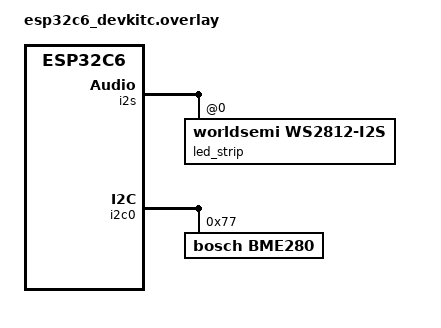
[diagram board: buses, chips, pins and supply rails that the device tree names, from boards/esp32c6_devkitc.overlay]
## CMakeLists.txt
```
cmake_minimum_required(VERSION 3.20.0)

if(EXISTS "${CMAKE_CURRENT_SOURCE_DIR}/local.conf")
    set(EXTRA_CONF_FILE "${CMAKE_CURRENT_SOURCE_DIR}/local.conf" CACHE INTERNAL "Local configuration overlay")
endif()

find_package(Zephyr REQUIRED HINTS $ENV{ZEPHYR_BASE})
project(device_firmware)

message(STATUS "DEBUG: EXTRA_CONF_FILE='${EXTRA_CONF_FILE}'")

zephyr_include_directories(include)

# Common sources
target_sources(app PRIVATE src/main.cpp src/runner.cpp src/filter.cpp)

# Network Configuration
if(CONFIG_WIFI)
    message(STATUS "Configuring for Wi-Fi Connection")
    target_sources(app PRIVATE src/network_connection_wifi.cpp)
else()
    message(STATUS "No Wi-Fi Configured. Configuring Mock Network Connection")
    target_sources(app PRIVATE src/network_connection_noop.cpp)
endif()

# Telemetry Configuration
if(CONFIG_APP_TELEMETRY_MQTT)
    message(STATUS "Configuring for MQTT Telemetry")
    target_sources(app PRIVATE src/mqtt_publisher.cpp src/mqtt_connection.cpp)
endif()

# Build-time hardware selection
dt_alias(has_strip PROPERTY "led-strip")
dt_alias(has_led   PROPERTY "led0")
dt_nodelabel(has_bme280 NODELABEL "bme280")

message(STATUS "DEBUG: has_strip='${has_strip}'")
message(STATUS "DEBUG: has_led='${has_led}'")
message(STATUS "DEBUG: has_bme280='${has_bme280}'")

# Board options
if(has_strip)
    message(STATUS "Configuring for LED Strip")
    target_sources(app PRIVATE src/status_light_strip.cpp)
elseif(has_led)
    message(STATUS "Configuring for GPIO LED")
    target_sources(app PRIVATE src/status_light_gpio.cpp)
else()
    message(STATUS "No LED hardware found. Configuring Mock Status Light")
    target_sources(app PRIVATE src/status_light_noop.cpp)
endif()

if(has_bme280)
    message(STATUS "Configuring for BME280 Sensor")
    target_sources(app PRIVATE src/environment_sensor_bme280.cpp)
else()
    message(STATUS "No sensor hardware found. Configuring Mock Sensor")
    target_sources(app PRIVATE src/environment_sensor_noop.cpp)
endif()

# Workaround for Zephyr C++ compilation issue in net/ethernet.h (Issue #106984)
target_compile_options(app PRIVATE $<$<COMPILE_LANGUAGE:CXX>:-fpermissive>)
```

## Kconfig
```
mainmenu "Environment Metrics Firmware"

config APP_WIFI_SSID
    string "WiFi SSID"
    default "Your_SSID"

config APP_WIFI_PASSWORD
    string "WiFi Password"
    default "Your_Password"

config APP_TELEMETRY_MQTT
    bool "Enable MQTT Telemetry Publisher"
    default y

config APP_MQTT_BROKER_HOST
    string "MQTT Broker Hostname/IP"
    default "127.0.0.1"

config APP_MQTT_BROKER_PORT
    int "MQTT Broker Port"
    default 1883

config APP_MQTT_TOPIC
    string "MQTT Publish Topic"
    default "sensors/environment"

config APP_MQTT_TLS_VERIFY_REQUIRED
    bool "MQTT TLS Verification Required"
    default n
    help
      Enable server certificate verification. Defaults to 'n' for local dev
      due to Pico W real-time clock validation constraints.

config APP_MQTT_USERNAME
    string "MQTT Username"
    default "device_user"

config APP_MQTT_PASSWORD
    string "MQTT Password"
    default "device_pass"

source "Kconfig.zephyr"
```

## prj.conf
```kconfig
CONFIG_GPIO=y
CONFIG_LOG=y

# Enable I2C and Sensor subsystems
CONFIG_I2C=y
CONFIG_SENSOR=y

# C++ Support
CONFIG_CPP=y
CONFIG_STD_CPP20=y
CONFIG_REQUIRES_FULL_LIBCPP=y

# Floating point printing support
CONFIG_CBPRINTF_FP_SUPPORT=y

# Enable WiFi
CONFIG_WIFI=y
CONFIG_NET_L2_ETHERNET=y
CONFIG_NET_L2_WIFI_MGMT=y
CONFIG_NET_DHCPV4=y

# Networking
CONFIG_NETWORKING=y
CONFIG_NET_IPV4=y
CONFIG_NET_TCP=y
CONFIG_NET_UDP=y

# Logging
CONFIG_NET_LOG=y
CONFIG_WIFI_LOG_LEVEL_INF=y
CONFIG_NET_L2_WIFI_MGMT_LOG_LEVEL_INF=y

# Networking Sockets
CONFIG_NET_SOCKETS=y
CONFIG_POSIX_API=y
CONFIG_TEST_RANDOM_GENERATOR=y
CONFIG_DNS_RESOLVER=y
CONFIG_DNS_RESOLVER_ADDITIONAL_QUERIES=2

# WiFi Configuration placeholders
CONFIG_APP_WIFI_SSID="your-ssid-here"
CONFIG_APP_WIFI_PASSWORD="your-password-here"

# Application stack and heap allocations
CONFIG_MAIN_STACK_SIZE=8192
CONFIG_HEAP_MEM_POOL_SIZE=196608

# Enable MQTT and JSON parsing support
CONFIG_MQTT_LIB=y
CONFIG_JSON_LIBRARY=y
CONFIG_JSON_LIBRARY_FP_SUPPORT=y

# TLS Configuration
CONFIG_MQTT_LIB_TLS=y
CONFIG_NET_SOCKETS_SOCKOPT_TLS=y
CONFIG_TLS_CREDENTIALS=y
CONFIG_MBEDTLS=y
CONFIG_MBEDTLS_BUILTIN=y
CONFIG_MBEDTLS_CIPHERSUITE_TLS_ECDHE_RSA_WITH_AES_128_GCM_SHA256=y
CONFIG_MBEDTLS_PEM_PARSE_C=y
CONFIG_MBEDTLS_SSL_MAX_CONTENT_LEN=16384
CONFIG_MBEDTLS_SSL_SERVER_NAME_INDICATION=y
CONFIG_NET_SOCKETS_TLS_MAX_CONTEXTS=2

# Enable RSA public key parsing in PSA
CONFIG_PSA_WANT_KEY_TYPE_RSA_PUBLIC_KEY=y

# Enable SHA-384 and SHA-512 in PSA (often required for certificate verification)
CONFIG_PSA_WANT_ALG_SHA_384=y
CONFIG_PSA_WANT_ALG_SHA_512=y

# Enable verbose MbedTLS debug logs
#CONFIG_MBEDTLS_DEBUG=y
#CONFIG_MBEDTLS_LOG_LEVEL_DBG=y


# Allocate dedicated memory for MbedTLS
CONFIG_MBEDTLS_ENABLE_HEAP=y
CONFIG_MBEDTLS_HEAP_SIZE=98304

# MQTT TLS Credentials Default Placeholders
CONFIG_APP_MQTT_USERNAME="device_user"
CONFIG_APP_MQTT_PASSWORD="device_pass"
CONFIG_APP_MQTT_BROKER_HOST="127.0.0.1"
CONFIG_APP_MQTT_BROKER_PORT=1883
```

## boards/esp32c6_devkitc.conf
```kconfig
CONFIG_LED_STRIP=y
CONFIG_WS2812_STRIP_I2S=y
CONFIG_I2S=y
CONFIG_DMA=y
CONFIG_WIFI_ESP32=y
```

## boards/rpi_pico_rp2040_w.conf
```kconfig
CONFIG_CYW43439=y

# Adjust heap allocations to fit the RP2040's 264KB RAM limits
CONFIG_HEAP_MEM_POOL_SIZE=49152
CONFIG_MBEDTLS_HEAP_SIZE=57344
```

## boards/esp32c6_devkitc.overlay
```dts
#include <zephyr/dt-bindings/led/led.h>

/ {
	aliases {
		led-strip = &led_strip;
	};
};

&i2s_default {
	group1 {
		pinmux = <I2S_O_SD_GPIO8>;
	};
};

i2s_led: &i2s {
	status = "okay";

	dmas = <&dma 3>;
	dma-names = "tx";

	led_strip: ws2812@0 {
		compatible = "worldsemi,ws2812-i2s";

		reg = <0>;
		chain-length = <1>;
		color-mapping = <LED_COLOR_ID_RED
				 LED_COLOR_ID_GREEN
				 LED_COLOR_ID_BLUE>;
		reset-delay = <500>;
	};
};

&dma {
	status = "okay";
};

&i2c0 {
	status = "okay";
	bme280: bme280@77 {
		compatible = "bosch,bme280";
		reg = <0x77>;
	};
};
```

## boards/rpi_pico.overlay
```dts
/ {
	aliases {
		led0 = &led0;
	};
};
```

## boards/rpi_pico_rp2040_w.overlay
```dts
&i2c0 {
    status = "disabled";
};

&pinctrl {
    i2c1_default: i2c1_default {
        group1 {
            pinmux = <I2C1_SDA_P26>, <I2C1_SCL_P27>;
            input-enable;
            input-schmitt-enable;
        };
    };
};

&i2c1 {
    status = "okay";
    clock-frequency = <I2C_BITRATE_STANDARD>;
    pinctrl-0 = <&i2c1_default>;
    pinctrl-names = "default";

    bme280: bme280@77 {
        compatible = "bosch,bme280";
        reg = <0x77>;
    };
};

/ {
    leds {
        compatible = "gpio-leds";
        tx_led: led_17 {
            gpios = <&gpio0 17 GPIO_ACTIVE_LOW>;
            label = "Transmit LED";
        };
    };

    aliases {
        tx-led = &tx_led;
        led0 = &tx_led;
    };
};
```

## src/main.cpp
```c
#include "runner.hpp"
#include "telemetry_publisher.hpp"
#include <zephyr/kernel.h>
#include <zephyr/logging/log.h>
#include <zephyr/logging/log_ctrl.h>
#include <zephyr/net/net_if.h>
#include <zephyr/net/sntp.h>
#include <time.h>
#include <stdio.h>

LOG_MODULE_REGISTER(mlink, LOG_LEVEL_INF);

static volatile uint32_t s_boot_time_seconds = 0;

static log_timestamp_t real_time_logger_timestamp(void) {
    uint32_t boot_sec = s_boot_time_seconds;
    if (boot_sec == 0) {
        return (log_timestamp_t)(k_uptime_get_32() / 1000);
    }
    return (log_timestamp_t)((k_uptime_get_32() / 1000) + boot_sec);
}

static void sync_time() {
    struct sntp_time sntp_time_data;
    LOG_INF("Attempting to sync time via SNTP...");
    
    int ret = sntp_simple("pool.ntp.org", 5000, &sntp_time_data);
    if (ret == 0) {
        struct timespec ts;
        ts.tv_sec = sntp_time_data.seconds;
        ts.tv_nsec = 0;
        if (clock_settime(CLOCK_REALTIME, &ts) == 0) {
            struct tm broken_time;
            gmtime_r(&ts.tv_sec, &broken_time);
            LOG_INF("Time synchronized successfully. Current year: %d", broken_time.tm_year + 1900);
        } else {
            LOG_ERR("Failed to set system clock");
        }
    } else {
        LOG_ERR("SNTP query failed: %d", ret);
    }
}

int main() {
  // Register custom 1Hz real-time log timestamp provider
  log_set_timestamp_func(real_time_logger_timestamp, 1);

  // Allow USB console to connect on the host PC after reset
  k_msleep(2000);

  LOG_INF("Starting environment metrics firmware runner...");

  char client_id[13] = "000000000000";
  struct net_if *iface = net_if_get_default();
  if (iface) {
    struct net_linkaddr *link_addr = net_if_get_link_addr(iface);
    if (link_addr && link_addr->len == 6) {
      snprintf(client_id, sizeof(client_id), "%02X%02X%02X%02X%02X%02X",
               link_addr->addr[0], link_addr->addr[1], link_addr->addr[2],
               link_addr->addr[3], link_addr->addr[4], link_addr->addr[5]);
    }
  }

  LOG_INF("Device MAC: %s", client_id);

  TelemetryPublisher publisher(client_id);
  Runner runner(publisher);
  if (!runner.initialize()) {
    LOG_ERR("Failed to initialize firmware runner");
    return -1;
  }

  LOG_INF("Waiting for WiFi and IP connection...");
  while (!runner.is_network_connected()) {
      k_msleep(1000);
  }
  LOG_INF("Network connected!");

  // Synchronize time (retry until success)
  while (true) {
      sync_time();
      time_t now = time(NULL);
      if (now >= 1700000000) {
          s_boot_time_seconds = (uint32_t)now - (k_uptime_get_32() / 1000);
          break;
      }
      LOG_WRN("Time sync not verified (current time: %lld). Retrying in 5 seconds...", (long long)now);
      k_msleep(5000);
  }

  runner.run();

  return 0;
}
```

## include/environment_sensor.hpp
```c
#pragma once

#include "sensor_reading.hpp"

class EnvironmentSensor {
public:
    EnvironmentSensor();
    bool initialize();
    bool read(SensorReading& out);

private:
    bool m_initialized = false;
};
```

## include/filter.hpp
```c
#pragma once

#include "sensor_reading.hpp"
#include <cstdint>

class ReadingFilter {
public:
    ReadingFilter(uint32_t interval_ms = 120000);

    void add_sample(const SensorReading& reading);
    bool check_and_get_reading(SensorReading& out_reading, uint32_t current_time_ms);

private:
    uint32_t m_interval_ms;
    uint32_t m_last_published_time_ms;
    bool m_has_last_published;

    // Accumulators for averaging
    double m_sum_temp;
    double m_sum_humidity;
    double m_sum_pressure;
    int m_sample_count;
};
```

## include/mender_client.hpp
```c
#pragma once

#include <zephyr/kernel.h>

class MenderClient {
public:
    MenderClient() = default;
    ~MenderClient() = default;

    // Disallow copy and assignment
    MenderClient(const MenderClient&) = delete;
    MenderClient& operator=(const MenderClient&) = delete;

    /**
     * @brief Initialize the Mender client client, registers callbacks.
     * @return true if initialization was successful, false otherwise.
     */
    bool initialize();

    /**
     * @brief Starts the Mender client worker thread.
     */
    void start();

private:
    static void thread_entry(void* p1, void* p2, void* p3);

    k_tid_t m_thread_id{nullptr};
    struct k_thread m_thread_data{};
    K_KERNEL_STACK_MEMBER(m_stack, 8192);
};
```

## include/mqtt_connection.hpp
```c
#pragma once
#include <zephyr/net/mqtt.h>
#include <zephyr/kernel.h>

class MqttConnection {
public:
    MqttConnection(const char *client_id);
    ~MqttConnection();
    
    bool initialize();
    bool start();
    void stop();
    bool get_connected();
    void set_connected(bool connected);
    struct mqtt_client* get_client();
    struct k_mutex* get_mutex();

private:
    struct mqtt_client client_;
    struct sockaddr_in broker_addr_;
    uint8_t rx_buffer_[256];
    uint8_t tx_buffer_[256];
    char mac_str_[18];
    bool is_connected_;
    bool should_run_;
    struct k_mutex state_mutex_;

    void run_loop();
    void process_network(int timeout_ms);
    bool connect_broker();
    void disconnect_broker();

    static void mqtt_evt_handler(struct mqtt_client *const client, const struct mqtt_evt *evt);
};
```

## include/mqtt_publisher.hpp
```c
#pragma once
#include "sensor_reading.hpp"
#include "mqtt_connection.hpp"

class MqttPublisher {
public:
    MqttPublisher(const char *client_id);
    ~MqttPublisher() = default;
    
    bool initialize();
    bool start();
    void stop();
    bool publish(const SensorReading& reading);
    bool get_connected();

private:
    MqttConnection connection_;
};
```

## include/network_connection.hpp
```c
#pragma once

class NetworkConnection {
public:
    NetworkConnection();
    bool initialize();
    bool is_connected() const;

private:
    bool m_initialized;
};
```

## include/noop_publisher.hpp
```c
#pragma once
#include "sensor_reading.hpp"

class NoOpPublisher {
public:
    NoOpPublisher(const char* = nullptr) {}
    bool initialize() { return true; }
    bool start() { return true; }
    void stop() {}
    bool publish(const SensorReading&) { return true; }
    bool get_connected() { return true; }
};
```

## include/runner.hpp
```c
#pragma once

#include "status_light.hpp"
#include "environment_sensor.hpp"
#include "filter.hpp"
#include "network_connection.hpp"
#include "telemetry_publisher.hpp"
#include <cstdint>

#ifdef CONFIG_MENDER_MCU_CLIENT
#include "mender_client.hpp"
#endif


class Runner {
public:
    enum class State {
        RUNNING,
        FAILURE
    };

    Runner(TelemetryPublisher& publisher);
    bool initialize();
    void run();
    bool is_network_connected() const { return m_network.is_connected(); }


private:
    StatusLight m_status_light;
    EnvironmentSensor m_sensor;
    ReadingFilter m_filter;
    NetworkConnection m_network;
    TelemetryPublisher& m_publisher;
    State m_state;
    bool m_network_established;

#ifdef CONFIG_MENDER_MCU_CLIENT
    MenderClient m_mender_client;
#endif



    // Task intervals and last run timestamps
    uint32_t m_last_sample_time_ms;
    uint32_t m_last_blink_toggle_time_ms;

    // Measurement blink control
    bool m_measure_blink_active;
    uint32_t m_measure_blink_start_ms;

    // Failure blink state
    bool m_failure_led_state;

    struct Events {
        bool network_ok;
        bool sensor_sampled;
        bool sensor_ok;
    };

    void update_led_state(uint32_t now_ms);
    void transition_to(State new_state, uint32_t now_ms, const char* reason);
    void process_reading(uint32_t now_ms);
    
    Events gather_events(uint32_t now_ms);
    void evaluate_state(uint32_t now_ms, const Events& events);
};
```

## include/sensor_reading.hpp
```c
#pragma once

struct SensorReading {
    double temperature;
    double humidity;
    double pressure;
    int address;
};
```

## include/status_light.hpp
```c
#ifndef STATUS_LIGHT_HPP
#define STATUS_LIGHT_HPP

#include <cstdint>

class StatusLight {
public:
    struct Color {
        uint8_t r, g, b;
        static constexpr Color Black() { return {0, 0, 0}; }
        static constexpr Color Green() { return {0, 0x1F, 0}; }
    };

    StatusLight() = default;

    bool initialize();
    void set_color(Color color);
    
    // Inline common logic to keep implementation files focused
    void set_state(bool on) {
        set_color(on ? Color::Green() : Color::Black());
    }

private:
    bool m_initialized = false;
};

#endif // STATUS_LIGHT_HPP
```

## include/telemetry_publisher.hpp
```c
#pragma once

#if defined(CONFIG_APP_TELEMETRY_MQTT)
#include "mqtt_publisher.hpp"
using TelemetryPublisher = MqttPublisher;
#else
#include "noop_publisher.hpp"
using TelemetryPublisher = NoOpPublisher;
#endif
```

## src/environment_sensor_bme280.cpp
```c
#include "environment_sensor.hpp"
#include <zephyr/device.h>
#include <zephyr/drivers/sensor.h>
#include <zephyr/logging/log.h>

LOG_MODULE_DECLARE(mlink, LOG_LEVEL_INF);

#define SENSOR_NODE DT_NODELABEL(bme280)

namespace {
const struct device *const dev = DEVICE_DT_GET(SENSOR_NODE);
}

EnvironmentSensor::EnvironmentSensor() : m_initialized(false) {}

bool EnvironmentSensor::initialize() {
  if (!device_is_ready(dev)) {
    LOG_ERR("BME280 sensor device is not ready");
    return false;
  }
  LOG_INF("Found BME280 sensor device: %s", dev->name);
  m_initialized = true;
  return true;
}

bool EnvironmentSensor::read(SensorReading &out) {
  if (!m_initialized) {
    LOG_ERR("BME280 sensor not initialized");
    return false;
  }

  struct sensor_value temp, press, humidity;

  if (sensor_sample_fetch(dev) < 0) {
    LOG_ERR("BME280 sample fetch failed");
    return false;
  }

  sensor_channel_get(dev, SENSOR_CHAN_AMBIENT_TEMP, &temp);
  sensor_channel_get(dev, SENSOR_CHAN_PRESS, &press);
  sensor_channel_get(dev, SENSOR_CHAN_HUMIDITY, &humidity);

  out.temperature = sensor_value_to_double(&temp);
  out.pressure = sensor_value_to_double(&press) * 10.0; // kPa to hPa
  out.humidity = sensor_value_to_double(&humidity);

#if DT_NODE_HAS_PROP(SENSOR_NODE, reg)
  out.address = DT_REG_ADDR(SENSOR_NODE);
#else
  out.address = 0;
#endif

  return true;
}
```
